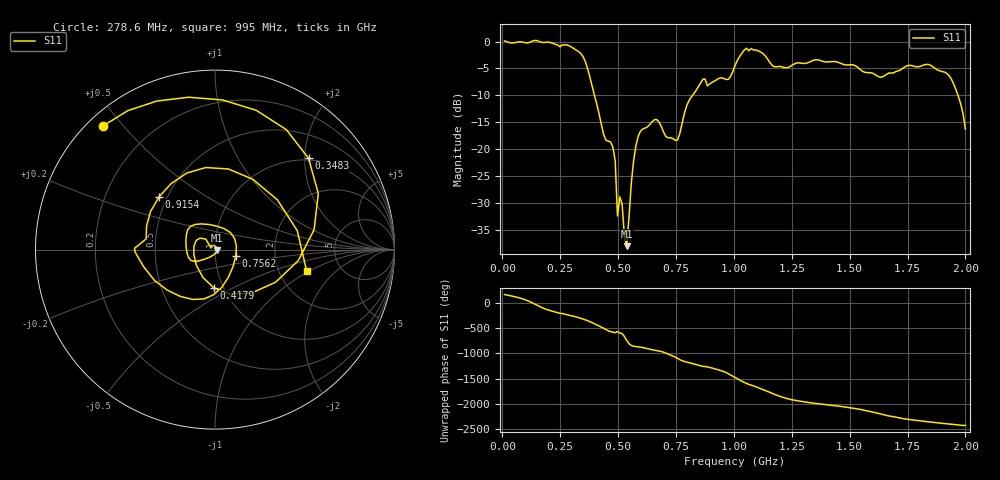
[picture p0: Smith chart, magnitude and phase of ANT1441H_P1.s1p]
!Created with skrf (http://scikit-rf.org).
# Hz S RI R 50.0
!freq ReS11 ImS11
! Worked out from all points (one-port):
!   201 points, 10 MHz to 2 GHz, reference 50 ohm
!   lowest |S11| = -38.0 dB at 537.4 MHz (marker M1), VSWR 1.03, Z = 51.2 - j0.488 ohm
!   |S11| at or under -10 dB: 398.1 MHz to 821.9 MHz (423.9 MHz wide, 69.5 % of centre); 1.968 GHz to end of sweep
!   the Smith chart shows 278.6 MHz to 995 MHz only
!   S11 on the Smith chart (normalised r, x): 278.6 MHz: 0.04, +0.44; 348.3 MHz: 0.96, +2.08; 417.9 MHz: 0.90, -0.40; 756.2 MHz: 1.26, -0.09; 915.5 MHz: 0.45, +0.32; 995 MHz: 2.86, -0.94
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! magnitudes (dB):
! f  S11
! 10 MHz  0.1
! 258.8 MHz  -0.6
! 278.6 MHz  -0.6
! 348.3 MHz  -2.8
! 417.9 MHz  -13.4
! 437.9 MHz  -17.3
! 477.6 MHz  -19.6
! 487.6 MHz  -22.2
! 497.6 MHz  -32.4
! 507.5 MHz  -28.9
! 537.4 MHz  -38.0
! 567.2 MHz  -22.1
! 597 MHz  -16.6
! 666.7 MHz  -14.5
! 756.2 MHz  -18.3
! 806 MHz  -11.0
! 865.7 MHz  -7.0
! 915.5 MHz  -7.4
! 995 MHz  -5.6
! 1.005 GHz  -4.5
! 1.055 GHz  -1.2
! 1.254 GHz  -4.3
! 1.502 GHz  -4.3
! 1.632 GHz  -6.6
! 1.751 GHz  -4.5
! 1.93 GHz  -6.4
! 1.98 GHz  -11.6
! 2 GHz  -16.3
